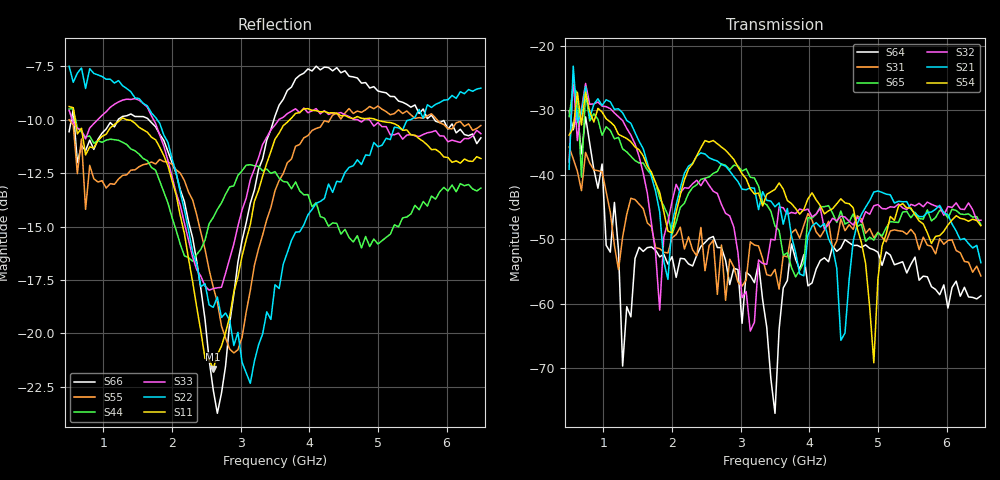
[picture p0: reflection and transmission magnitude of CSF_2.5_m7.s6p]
!Keysight Technologies,M9804A,MY58100912,A.14.10.03
!Date: Thursday, April 27, 2023 10:28:33
!Correction: S11(C  6-Port  )
!S12(C  6-Port  )
!S13(C  6-Port  )
!S14(C  6-Port  )
!S15(C  6-Port  )
!S16(C  6-Port  )
!S21(C  6-Port  )
!S22(C  6-Port  )
!S23(C  6-Port  )
!S24(C  6-Port  )
!S25(C  6-Port  )
!S26(C  6-Port  )
!S31(C  6-Port  )
!S32(C  6-Port  )
!S33(C  6-Port  )
!S34(C  6-Port  )
!S35(C  6-Port  )
!S36(C  6-Port  )
!S41(C  6-Port  )
!S42(C  6-Port  )
!S43(C  6-Port  )
!S44(C  6-Port  )
!S45(C  6-Port  )
!S46(C  6-Port  )
!S51(C  6-Port  )
!S52(C  6-Port  )
!S53(C  6-Port  )
!S54(C  6-Port  )
!S55(C  6-Port  )
!S56(C  6-Port  )
!S61(C  6-Port  )
!S62(C  6-Port  )
!S63(C  6-Port  )
!S64(C  6-Port  )
!S65(C  6-Port  )
!S66(C  6-Port  )
!S6P File: Measurement: :
# Hz S  RI  R 50
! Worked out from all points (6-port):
!   101 points, 500 MHz to 6.5 GHz, reference 50 ohm
!   strongest paths, dB at 500 MHz, 2 GHz, 3.5 GHz, 5 GHz, 6.5 GHz:
!     S54: -33.9, -49.0, -42.3, -56.1, -47.9
!     S21: -39.2, -47.6, -45.0, -42.5, -53.7
!     S32: -38.0, -44.2, -50.1, -44.7, -47.1
!     S65: -31.0, -49.2, -48.0, -49.0, -47.8
!     S31: -35.7, -49.8, -54.7, -48.9, -55.7
!     S64: -30.1, -52.7, -77.0, -52.0, -58.8
!   lowest |S11| = -21.7 dB at 2.6 GHz (marker M1), VSWR 1.18, Z = 42.6 + j1.99 ohm
!   |S11| at or under -10 dB: 587.5 MHz to 1.249 GHz (661.5 MHz wide, 72 % of centre); 1.338 GHz to 3.716 GHz (2.378 GHz wide, 94.1 % of centre); 4.974 GHz to end of sweep
